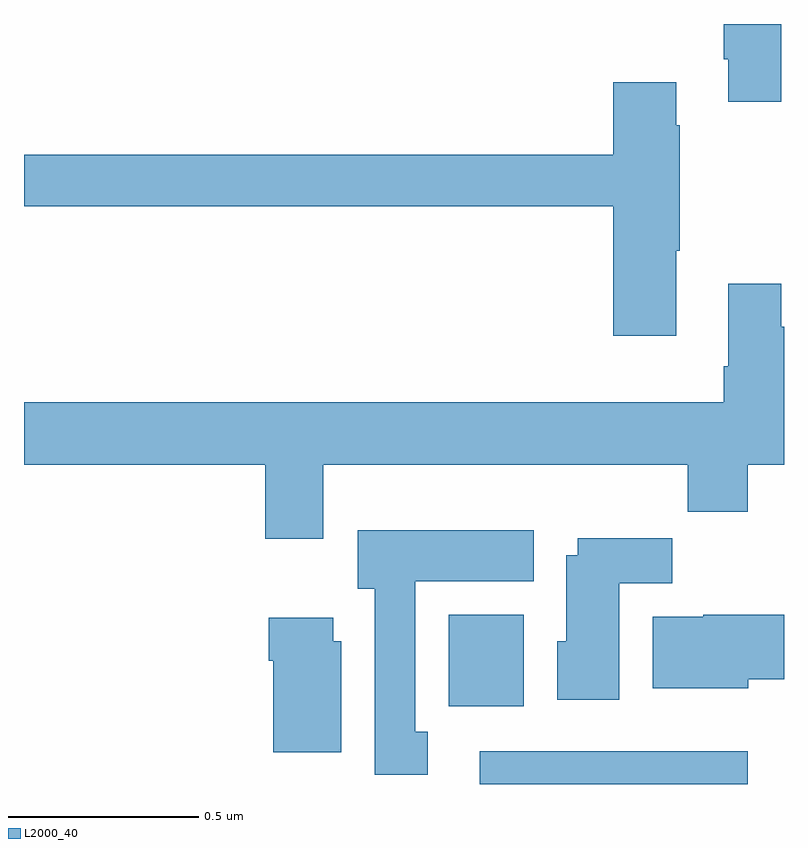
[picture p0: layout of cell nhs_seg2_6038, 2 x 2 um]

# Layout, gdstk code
import gdstk
lib = gdstk.Library(unit=1e-6, precision=1e-09)
def R(c, l, rs):  # rectangles x0, y0, x1, y1
    for r in rs: c.add(gdstk.rectangle(r[:2], r[2:], *l))
def P(c, l, *ps):  # polygons
    for p in ps: c.add(gdstk.Polygon(p, *l))
L2000_40 = (2000, 40)

nhs_seg2_6038 = lib.new_cell('nhs_seg2_6038')
R(nhs_seg2_6038, L2000_40, [(187.199,642.8,187.904,642.886), (187.118,643.004,187.315,643.246)])
P(nhs_seg2_6038, L2000_40, [(187.993,644.8),(187.841,644.8),(187.841,644.707),(187.853,644.707),(187.853,644.595),(187.993,644.595)],
  [(187.717,644.203),(187.725,644.203),(187.725,644.534),(187.717,644.534),(187.717,644.647),(187.55,644.647),(187.55,644.456),(186,644.456),(186,644.32),(187.55,644.32),(187.55,643.98),(187.717,643.98)],
  [(186.787,643.64),(187.747,643.64),(187.747,643.516),(187.904,643.516),(187.904,643.64),(188,643.64),(188,644.003),(187.993,644.003),(187.993,644.116),(187.853,644.116),(187.853,643.9),(187.841,643.9),(187.841,643.804),(186,643.804),(186,643.64),(186.635,643.64),(186.635,643.446),(186.787,643.446)],
  [(187.063,642.938),(187.03,642.938),(187.03,643.334),(187.342,643.334),(187.342,643.468),(186.878,643.468),(186.878,643.314),(186.923,643.314),(186.923,642.825),(187.063,642.825)],
  [(187.567,643.328),(187.706,643.328),(187.706,643.447),(187.457,643.447),(187.457,643.402),(187.427,643.402),(187.427,643.176),(187.403,643.176),(187.403,643.022),(187.567,643.022)],
  [(187.906,643.076),(188,643.076),(188,643.246),(187.788,643.246),(187.788,643.24),(187.655,643.24),(187.655,643.052),(187.906,643.052)],
  [(186.835,643.176),(186.814,643.176),(186.814,643.237),(186.644,643.237),(186.644,643.124),(186.656,643.124),(186.656,642.884),(186.835,642.884)])

lib.write_gds('nhs_seg2_6038.gds')
